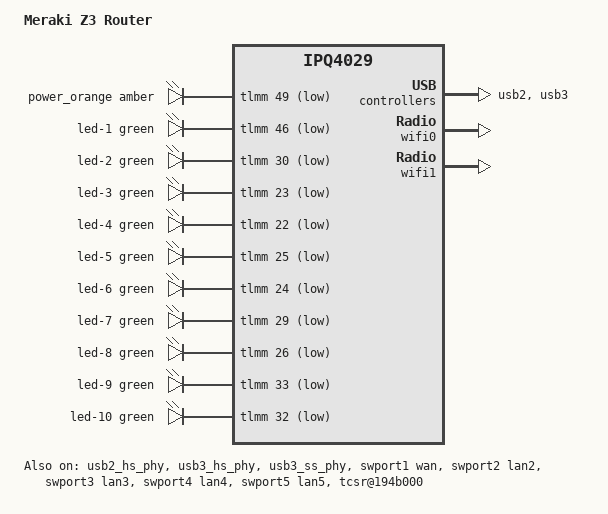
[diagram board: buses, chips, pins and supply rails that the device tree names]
// SPDX-License-Identifier: GPL-2.0-only
// Device Tree Source for Meraki Z3 (Fuzzy Cricket)

#include "qcom-ipq4029-meraki-insect.dtsi"

/ {
	model = "Meraki Z3 Router";
	compatible = "meraki,z3";

	soc {
		ess_tcsr@1953000 {
			qcom,ess-interface-select = <TCSR_ESS_PSGMII>;
		};

		tcsr@194b000 {
			/* select hostmode */
			compatible = "qcom,tcsr";
			reg = <0x194b000 0x100>;
			qcom,usb-hsphy-mode-select = <TCSR_USB_HSPHY_HOST_MODE>;
			status = "okay";
		};
	};

	leds {
		compatible = "gpio-leds";

		power_orange: power {
			color = <LED_COLOR_ID_AMBER>;
			function = LED_FUNCTION_POWER;
			gpios = <&tlmm 49 GPIO_ACTIVE_LOW>;
			panic-indicator;
		};

		led-1 {
			/* WAN left */
			color = <LED_COLOR_ID_GREEN>;
			function = LED_FUNCTION_WAN;
			function-enumerator = <0>;
			gpios = <&tlmm 46 GPIO_ACTIVE_LOW>;
		};

		led-2 {
			/* WAN right */
			color = <LED_COLOR_ID_GREEN>;
			function = LED_FUNCTION_WAN;
			function-enumerator = <1>;
			gpios = <&tlmm 30 GPIO_ACTIVE_LOW>;
		};

		led-3 {
			/* port 2 left */
			color = <LED_COLOR_ID_GREEN>;
			function = LED_FUNCTION_LAN;
			function-enumerator = <2>;
			gpios = <&tlmm 23 GPIO_ACTIVE_LOW>;
		};

		led-4 {
			/* port 2 right */
			color = <LED_COLOR_ID_GREEN>;
			function = LED_FUNCTION_LAN;
			function-enumerator = <3>;
			gpios = <&tlmm 22 GPIO_ACTIVE_LOW>;
		};

		led-5 {
			/* port 3 left */
			color = <LED_COLOR_ID_GREEN>;
			function = LED_FUNCTION_LAN;
			function-enumerator = <4>;
			gpios = <&tlmm 25 GPIO_ACTIVE_LOW>;
		};

		led-6 {
			/* port 3 right */
			color = <LED_COLOR_ID_GREEN>;
			function = LED_FUNCTION_LAN;
			function-enumerator = <5>;
			gpios = <&tlmm 24 GPIO_ACTIVE_LOW>;
		};

		led-7 {
			/* port 4 left */
			color = <LED_COLOR_ID_GREEN>;
			function = LED_FUNCTION_LAN;
			function-enumerator = <6>;
			gpios = <&tlmm 29 GPIO_ACTIVE_LOW>;
		};

		led-8 {
			/* port 4 right */
			color = <LED_COLOR_ID_GREEN>;
			function = LED_FUNCTION_LAN;
			function-enumerator = <7>;
			gpios = <&tlmm 26 GPIO_ACTIVE_LOW>;
		};

		led-9 {
			/* port 5 left */
			color = <LED_COLOR_ID_GREEN>;
			function = LED_FUNCTION_LAN;
			function-enumerator = <8>;
			gpios = <&tlmm 33 GPIO_ACTIVE_LOW>;
		};

		led-10 {
			/* port 5 right */
			color = <LED_COLOR_ID_GREEN>;
			function = LED_FUNCTION_LAN;
			function-enumerator = <9>;
			gpios = <&tlmm 32 GPIO_ACTIVE_LOW>;
		};
	};
};

&tricolor {
	enable-gpio = <&tlmm 48 GPIO_ACTIVE_HIGH>;
};

&usb2_hs_phy {
	status = "okay";
};

&usb2 {
	status = "okay";
};

&usb3_hs_phy {
	status = "okay";
};

&usb3_ss_phy {
	status = "okay";
};

&usb3 {
	status = "okay";
};

&swport1 {
	label = "wan";
	status = "okay";
};

&swport2 {
	label = "lan2";
	status = "okay";
};

&swport3 {
	label = "lan3";
	status = "okay";
};

&swport4 {
	label = "lan4";
	status = "okay";
};

&swport5 {
	label = "lan5";
	status = "okay";
};

&wifi0 {
	status = "okay";
	qcom,ath10k-calibration-variant = "Meraki-Z3";
};

&wifi1 {
	status = "okay";
	qcom,ath10k-calibration-variant = "Meraki-Z3";
};
